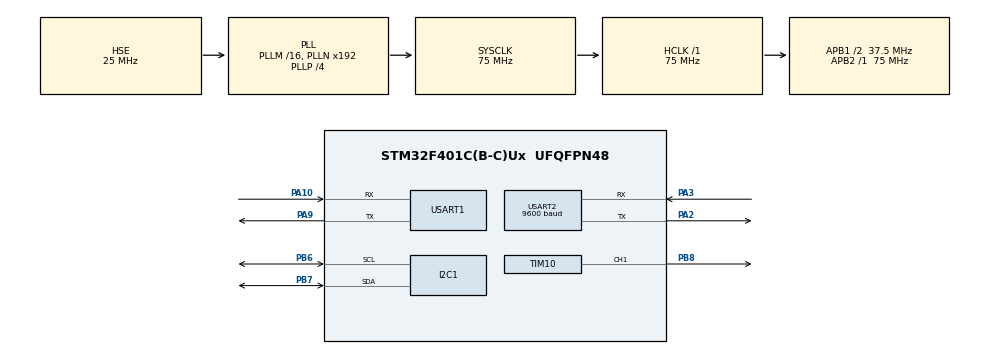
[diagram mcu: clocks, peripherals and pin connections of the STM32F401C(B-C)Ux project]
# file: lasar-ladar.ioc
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I2C1.I2C_Mode=I2C_Fast
Mcu.Family=STM32F4
Mcu.Name=STM32F401C(B-C)Ux
Mcu.Package=UFQFPN48
NVIC.PriorityGroup=NVIC_PRIORITYGROUP_4
NVIC.TIM1_UP_TIM10_IRQn=true\:0\:0\:false\:false\:true\:true\:true
NVIC.USART1_IRQn=true\:0\:0\:false\:false\:true\:true\:true
NVIC.USART2_IRQn=true\:0\:0\:false\:false\:true\:true\:true
PA10.Mode=Asynchronous
PA10.Signal=USART1_RX
PA13.Mode=Serial_Wire
PA13.Signal=SYS_JTMS-SWDIO
PA14.Mode=Serial_Wire
PA14.Signal=SYS_JTCK-SWCLK
PA2.Mode=Asynchronous
PA2.Signal=USART2_TX
PA3.Mode=Asynchronous
PA3.Signal=USART2_RX
PA9.Mode=Asynchronous
PA9.Signal=USART1_TX
PB6.Mode=I2C
PB6.Signal=I2C1_SCL
PB7.Mode=I2C
PB7.Signal=I2C1_SDA
PB8.Signal=S_TIM10_CH1
PH0\ -\ OSC_IN.Mode=HSE-External-Oscillator
PH0\ -\ OSC_IN.Signal=RCC_OSC_IN
PH1\ -\ OSC_OUT.Mode=HSE-External-Oscillator
PH1\ -\ OSC_OUT.Signal=RCC_OSC_OUT
ProjectManager.HeapSize=0x200
ProjectManager.StackSize=0x400
ProjectManager.TargetToolchain=MDK-ARM V5.32
RCC.48MHZClocksFreq_Value=75000000
RCC.AHBFreq_Value=75000000
RCC.APB1CLKDivider=RCC_HCLK_DIV2
RCC.APB1Freq_Value=37500000
RCC.APB1TimFreq_Value=75000000
RCC.APB2Freq_Value=75000000
RCC.APB2TimFreq_Value=75000000
RCC.CortexFreq_Value=75000000
RCC.HCLKFreq_Value=75000000
RCC.HSE_VALUE=25000000
RCC.HSI_VALUE=16000000
RCC.LSE_VALUE=32768
RCC.PLLP=RCC_PLLP_DIV4
RCC.PLLSourceVirtual=RCC_PLLSOURCE_HSE
RCC.SYSCLKFreq_VALUE=75000000
RCC.SYSCLKSource=RCC_SYSCLKSOURCE_PLLCLK
RCC.VCOOutputFreq_Value=300000000
SH.S_TIM10_CH1.0=TIM10_CH1,PWM Generation1 CH1
TIM1.Period=1000-1
TIM1.Prescaler=75-1
TIM10.Channel=TIM_CHANNEL_1
TIM10.Period=20000-1
TIM10.Prescaler=75-1
TIM11.Period=0xffff-1
TIM11.Prescaler=75-1
USART1.VirtualMode=VM_ASYNC
USART2.BaudRate=9600
USART2.VirtualMode=VM_ASYNC
VP_TIM10_VS_ClockSourceINT.Mode=Enable_Timer
VP_TIM11_VS_ClockSourceINT.Mode=Enable_Timer
VP_TIM1_VS_ClockSourceINT.Mode=Internal
board=custom

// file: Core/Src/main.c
/* USER CODE BEGIN Header */
/**
  ******************************************************************************
  * @file           : main.c
  * @brief          : Main program body
  ******************************************************************************
  * @attention
  *
  * <h2><center>&copy; Copyright (c) 2022 STMicroelectronics.
  * All rights reserved.</center></h2>
  *
  * This software component is licensed by ST under BSD 3-Clause license,
  * the "License"; You may not use this file except in compliance with the
  * License. You may obtain a copy of the License at:
  *                        opensource.org/licenses/BSD-3-Clause
  *
  ******************************************************************************
  */
/* USER CODE END Header */
#include "main.h"
#include "i2c.h"
#include "tim.h"
#include "usart.h"
#include "gpio.h"

/* USER CODE BEGIN Includes */
#include "oled.h"
#include "draw.h"
/* USER CODE END Includes */

/* USER CODE BEGIN PV */
extern uint8_t ReceiveByte;
extern uint8_t ReceiveByte_rc;

extern uint16_t distance;
extern uint16_t result[100][2];
/* USER CODE END PV */

void SystemClock_Config(void);

int main(void)
{

  /* MCU Configuration--------------------------------------------------------*/

  /* Reset of all peripherals, Initializes the Flash interface and the Systick. */
  HAL_Init();

  /* Configure the system clock */
  SystemClock_Config();

  /* Initialize all configured peripherals */
  MX_GPIO_Init();
  MX_TIM11_Init();
  MX_TIM1_Init();
  MX_USART1_UART_Init();
  MX_I2C1_Init();
  MX_TIM10_Init();
  MX_USART2_UART_Init();
  /* USER CODE BEGIN 2 */
	HAL_TIM_Base_Start_IT(&htim1);
  HAL_TIM_Base_Start(&htim10);
  HAL_TIM_PWM_Start(&htim10,TIM_CHANNEL_1);
	HAL_TIM_Base_Start(&htim11);
  HAL_UART_Receive_IT(&huart1,&ReceiveByte,1);
  __HAL_UART_ENABLE_IT(&huart1,UART_IT_IDLE);
  HAL_UART_Receive_IT(&huart2,&ReceiveByte_rc,1);
  __HAL_UART_ENABLE_IT(&huart2,UART_IT_IDLE);

  OLED_Init();
  /* USER CODE END 2 */

  /* Infinite loop */
  /* USER CODE BEGIN WHILE */

  //__HAL_TIM_SetCompare(&htim10,TIM_CHANNEL_1,2000);  // 2000/20000 = 10%
  while (1)
  {
    /* USER CODE END WHILE */

    /* USER CODE BEGIN 3 */
    OLED_Clear();
    OLED_printf(0,0,"range=%4dmm",distance);
    for(uint8_t i=0;i<100;i++)
    {
      draw_arc((uint16_t)result[i][0],(uint16_t)(result[i][1]/15.625)); // 500mm => 32 pixels
    }
    draw_bgd();
    OLED_Refresh_Gram();

  }
  /* USER CODE END 3 */
}

void SystemClock_Config(void)
{
  RCC_OscInitTypeDef RCC_OscInitStruct = {0};
  RCC_ClkInitTypeDef RCC_ClkInitStruct = {0};

  /** Configure the main internal regulator output voltage
  */
  __HAL_RCC_PWR_CLK_ENABLE();
  __HAL_PWR_VOLTAGESCALING_CONFIG(PWR_REGULATOR_VOLTAGE_SCALE2);
  /** Initializes the RCC Oscillators according to the specified parameters
  * in the RCC_OscInitTypeDef structure.
  */
  RCC_OscInitStruct.OscillatorType = RCC_OSCILLATORTYPE_HSE;
  RCC_OscInitStruct.HSEState = RCC_HSE_ON;
  RCC_OscInitStruct.PLL.PLLState = RCC_PLL_ON;
  RCC_OscInitStruct.PLL.PLLSource = RCC_PLLSOURCE_HSE;
  RCC_OscInitStruct.PLL.PLLM = 16;
  RCC_OscInitStruct.PLL.PLLN = 192;
  RCC_OscInitStruct.PLL.PLLP = RCC_PLLP_DIV4;
  RCC_OscInitStruct.PLL.PLLQ = 4;
  if (HAL_RCC_OscConfig(&RCC_OscInitStruct) != HAL_OK)
  {
    Error_Handler();
  }
  /** Initializes the CPU, AHB and APB buses clocks
  */
  RCC_ClkInitStruct.ClockType = RCC_CLOCKTYPE_HCLK|RCC_CLOCKTYPE_SYSCLK
                              |RCC_CLOCKTYPE_PCLK1|RCC_CLOCKTYPE_PCLK2;
  RCC_ClkInitStruct.SYSCLKSource = RCC_SYSCLKSOURCE_PLLCLK;
  RCC_ClkInitStruct.AHBCLKDivider = RCC_SYSCLK_DIV1;
  RCC_ClkInitStruct.APB1CLKDivider = RCC_HCLK_DIV2;
  RCC_ClkInitStruct.APB2CLKDivider = RCC_HCLK_DIV1;

  if (HAL_RCC_ClockConfig(&RCC_ClkInitStruct, FLASH_LATENCY_2) != HAL_OK)
  {
    Error_Handler();
  }
}

void Error_Handler(void)
{
  __disable_irq();
  while (1)
  {
  }
}

/************************ (C) COPYRIGHT STMicroelectronics *****END OF FILE****/
